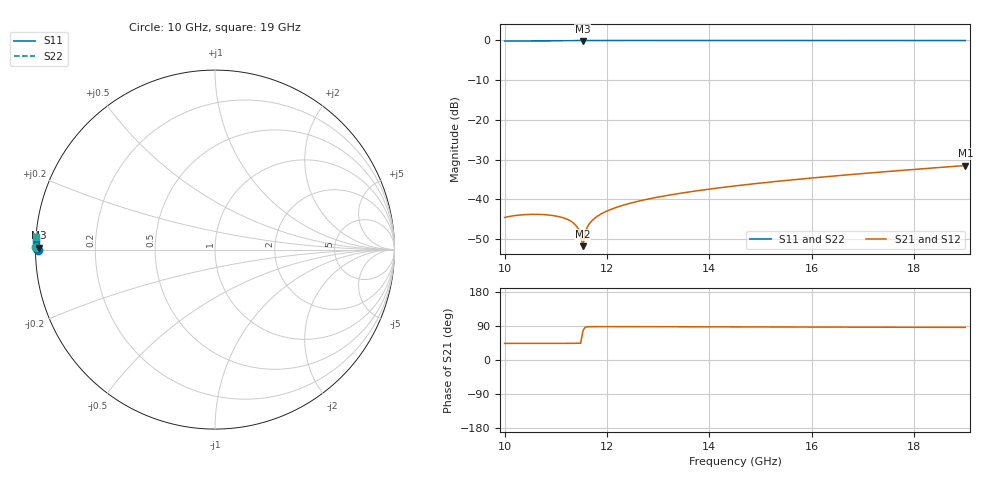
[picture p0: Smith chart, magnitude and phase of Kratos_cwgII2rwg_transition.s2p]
! Variables:
!  a = 0.3in
!  d = 2.99in
!  iris_radius = 0.0705in
!  iris_width = 0.04in
!  rwg_a = 0.622in
!  rwg_b = 0.311in
!  rwg_length = 0.3in
!Data is not renormalized
# GHz S RI
! Terminal data exported
! Port[1] = Port1_cwg
! Port[2] = Port2_rwg
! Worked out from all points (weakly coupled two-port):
!   201 points, 10 GHz to 19 GHz, reference per port
!   highest |S21| = -31.52 dB at 19 GHz (marker M1); lowest = -51.8 dB at 11.53 GHz (marker M2)
!   lowest |S11| = -0.1 dB at 11.53 GHz (marker M3), VSWR 118.08
!   |S11| at or under -10 dB: nowhere
!   |S22| runs from 0.0 to 0.0 dB; largest |S21 - S12| = 0
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10  -0.9837 -0.000721  0.00424 0.00408  0.00424 0.00408  -0.9994 0.0126
10.315  -0.9854 -0.000633  0.00457 0.00439  0.00457 0.00439  -0.9993 0.0162
10.63  -0.9873 -0.000539  0.00465 0.00446  0.00465 0.00446  -0.9991 0.0191
10.945  -0.9897 -0.000431  0.00449 0.00431  0.00449 0.00431  -0.999 0.0218
11.17  -0.9918 -0.000252  0.00415 0.00399  0.00415 0.00399  -0.9989 0.0236
11.26  -0.9926 -0.000309  0.00392 0.00377  0.00392 0.00377  -0.9989 0.0243
11.35  -0.9941 -0.000985  0.00358 0.00346  0.00358 0.00346  -0.9989 0.025
11.44  -0.9932 -0.000249  0.00302 0.00296  0.00302 0.00296  -0.9988 0.0256
11.485  -1 -0.0168  0.00247 0.00239  0.00247 0.00239  -0.9988 0.026
11.53  -0.9831 0.0107  0.000572 0.00249  0.000572 0.00249  -0.9988 0.0263
11.575  -0.998 0.00687  0.000205 0.00385  0.000205 0.00385  -0.9988 0.0266
11.62  -0.9979 0.00409  0.000194 0.00451  0.000194 0.00451  -0.9987 0.0269
11.71  -0.9996 0.00619  0.000191 0.00539  0.000191 0.00539  -0.9987 0.0276
11.845  -0.9994 0.00792  0.000213 0.00629  0.000213 0.00629  -0.9987 0.0285
12.025  -0.9995 0.00998  0.000243 0.00721  0.000243 0.00721  -0.9986 0.0297
12.295  -0.9993 0.0124  0.000289 0.00832  0.000289 0.00832  -0.9985 0.0315
13.015  -0.9991 0.0177  0.000409 0.0107  0.000409 0.0107  -0.9982 0.0361
13.69  -0.9988 0.0217  0.000526 0.0126  0.000526 0.0126  -0.9979 0.0402
14.5  -0.9986 0.0261  0.000674 0.0147  0.000674 0.0147  -0.9976 0.045
16.03  -0.9981 0.0336  0.000993 0.0185  0.000993 0.0185  -0.997 0.0538
17.515  -0.9976 0.0407  0.00137 0.0224  0.00137 0.0224  -0.9962 0.0624
19  -0.997 0.0479  0.00182 0.0265  0.00182 0.0265  -0.9954 0.0713
